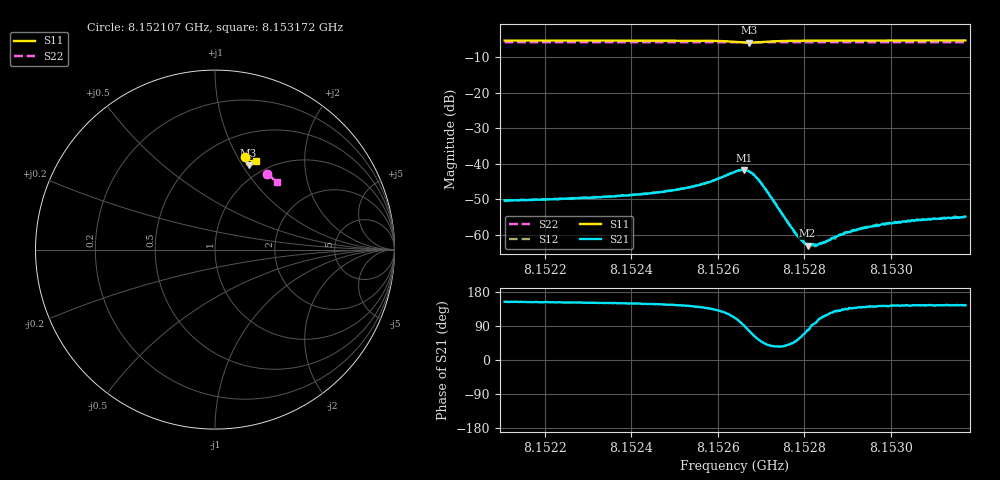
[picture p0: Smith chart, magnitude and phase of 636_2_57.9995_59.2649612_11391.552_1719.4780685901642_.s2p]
#  HZ  S  RI  R  50.00
! Rohde & Schwarz Vector Network Analyzer
! Rohde-Schwarz,ZNB20-2Port,1311601062101988,3.16
! Created: UTC 3/21/2024, 1:18:51 AM
! freq[Hz]  re:S11  im:S11  re:S21  im:S21  re:S12  im:S12  re:S22  im:S22
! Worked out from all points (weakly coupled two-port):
!   401 points, 8.152107 GHz to 8.153172 GHz, reference 50 ohm
!   highest |S21| = -41.82 dB at 8.152661 GHz (marker M1); lowest = -63.1 dB at 8.152807 GHz (marker M2)
!   lowest |S11| = -5.9 dB at 8.152672 GHz (marker M3), VSWR 3.04, Z = 42.3 + j53.2 ohm
!   |S11| at or under -10 dB: nowhere
!   |S22| runs from -5.9 to -5.8 dB; largest |S21 - S12| = 0.00014
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8.1521073e9  0.1645 0.5149  -0.00269 0.00134  -0.00269 0.00139  0.2921 0.4205
8.1522856e9  0.1776 0.5106  -0.00287 0.00157  -0.00287 0.0016  0.3011 0.4136
8.1523974e9  0.1864 0.5073  -0.00309 0.00184  -0.00311 0.00188  0.3069 0.4093
8.1524639e9  0.1922 0.5047  -0.00331 0.00214  -0.00329 0.0022  0.3104 0.4065
8.1525145e9  0.197 0.5018  -0.00356 0.00257  -0.00355 0.00266  0.3128 0.4044
8.1525597e9  0.2022 0.4977  -0.00384 0.00329  -0.00382 0.00335  0.3151 0.4024
8.152589e9  0.2056 0.4931  -0.00397 0.00412  -0.00397 0.00423  0.3165 0.401
8.1526396e9  0.2058 0.4759  -0.00273 0.00716  -0.00269 0.00724  0.3186 0.3985
8.1526609e9  0.1951 0.4682  -5.76e-05 0.00811  3.17e-05 0.00814  0.3191 0.3977
8.1526715e9  0.187 0.4689  0.00166 0.0076  0.00174 0.00768  0.3194 0.3973
8.1526848e9  0.1792 0.4748  0.00312 0.00599  0.00318 0.00607  0.3197 0.3971
8.1526981e9  0.1766 0.4829  0.00349 0.00419  0.00358 0.00425  0.3205 0.3969
8.1527806e9  0.1922 0.5003  0.000658 0.000764  0.000651 0.000795  0.3251 0.394
8.1528019e9  0.1956 0.5005  0.000234 0.00071  0.000253 0.000697  0.3262 0.3934
8.1528072e9  0.1965 0.5006  0.000126 0.000685  0.000184 0.000707  0.3265 0.3929
8.1528179e9  0.1978 0.5005  -2.51e-05 0.000733  1.28e-05 0.000706  0.327 0.3925
8.1528312e9  0.1995 0.5004  -0.000182 0.000698  -0.000173 0.000693  0.3277 0.3921
8.1528791e9  0.2048 0.4994  -0.000635 0.000736  -0.000638 0.000748  0.3302 0.3899
8.1529164e9  0.2083 0.4986  -0.000849 0.000773  -0.000839 0.000776  0.3318 0.3884
8.1529962e9  0.215 0.4966  -0.00113 0.000868  -0.00117 0.000885  0.3358 0.3851
8.1530548e9  0.2194 0.4949  -0.00128 0.000918  -0.00125 0.000921  0.3386 0.3825
8.1531719e9  0.2277 0.4915  -0.00145 0.00103  -0.00144 0.00105  0.3441 0.3774
